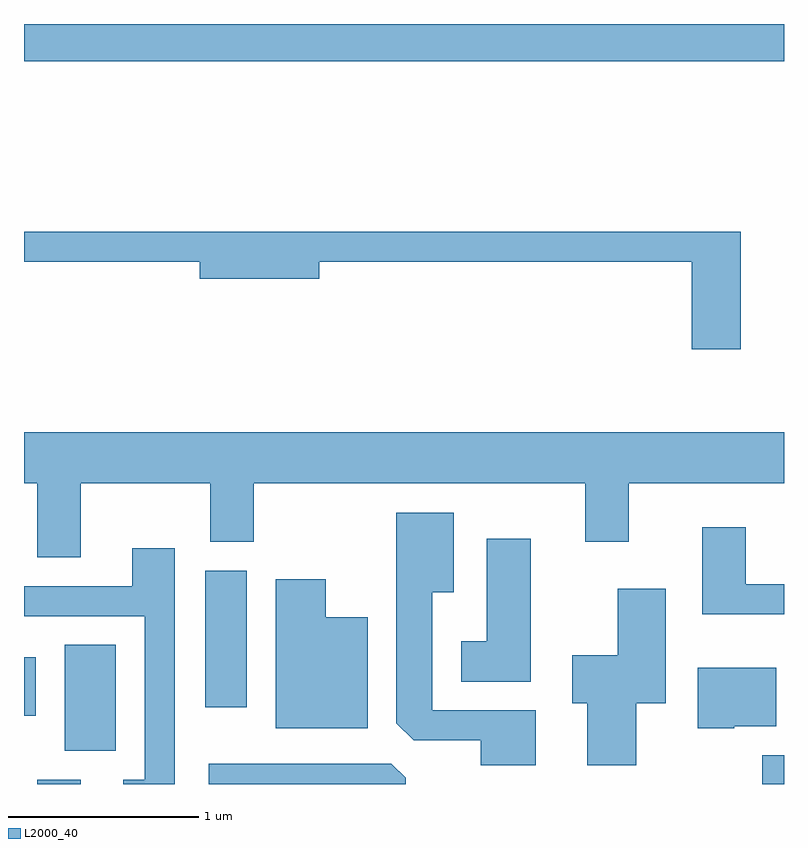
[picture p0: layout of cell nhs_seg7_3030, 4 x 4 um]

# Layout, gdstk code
import gdstk
lib = gdstk.Library(unit=1e-6, precision=1e-09)
def R(c, l, rs):  # rectangles x0, y0, x1, y1
    for r in rs: c.add(gdstk.rectangle(r[:2], r[2:], *l))
def P(c, l, *ps):  # polygons
    for p in ps: c.add(gdstk.Polygon(p, *l))
L2000_40 = (2000, 40)

nhs_seg7_3030 = lib.new_cell('nhs_seg7_3030')
R(nhs_seg7_3030, L2000_40, [(277.681,1748.252,277.909,1748.274), (281.496,1748.252,281.611,1748.404), (277.826,1748.426,278.094,1748.984), (277.611,1748.611,277.674,1748.919), (278.566,1748.656,278.784,1749.374), (277.611,1752.056,281.611,1752.252)])
P(nhs_seg7_3030, L2000_40, [(281.384,1751.159),(277.611,1751.159),(277.611,1751.001),(278.536,1751.001),(278.536,1750.911),(279.164,1750.911),(279.164,1751.001),(281.126,1751.001),(281.126,1750.541),(281.384,1750.541)],
  [(277.909,1749.836),(278.591,1749.836),(278.591,1749.526),(278.819,1749.526),(278.819,1749.836),(280.566,1749.836),(280.566,1749.526),(280.794,1749.526),(280.794,1749.836),(281.611,1749.836),(281.611,1750.104),(277.611,1750.104),(277.611,1749.836),(277.681,1749.836),(277.681,1749.446),(277.909,1749.446)],
  [(280.304,1748.639),(279.759,1748.639),(279.759,1749.261),(279.874,1749.261),(279.874,1749.679),(279.571,1749.679),(279.571,1748.572),(279.662,1748.481),(280.016,1748.481),(280.016,1748.351),(280.304,1748.351)],
  [(281.611,1749.304),(281.409,1749.304),(281.409,1749.604),(281.181,1749.604),(281.181,1749.146),(281.611,1749.146)],
  [(280.279,1749.544),(280.046,1749.544),(280.046,1749.004),(279.911,1749.004),(279.911,1748.791),(280.279,1748.791)],
  [(278.404,1749.494),(278.181,1749.494),(278.181,1749.294),(277.611,1749.294),(277.611,1749.136),(278.246,1749.136),(278.246,1748.274),(278.133,1748.274),(278.133,1748.252),(278.404,1748.252)],
  [(279.419,1749.129),(279.199,1749.129),(279.199,1749.329),(278.936,1749.329),(278.936,1748.546),(279.419,1748.546)],
  [(280.834,1748.676),(280.989,1748.676),(280.989,1749.279),(280.736,1749.279),(280.736,1748.929),(280.496,1748.929),(280.496,1748.676),(280.576,1748.676),(280.576,1748.351),(280.834,1748.351)],
  [(281.35,1748.556),(281.569,1748.556),(281.569,1748.864),(281.156,1748.864),(281.156,1748.546),(281.35,1748.546)],
  [(279.619,1748.284),(279.544,1748.359),(278.583,1748.359),(278.583,1748.252),(279.619,1748.252)])

lib.write_gds('nhs_seg7_3030.gds')
